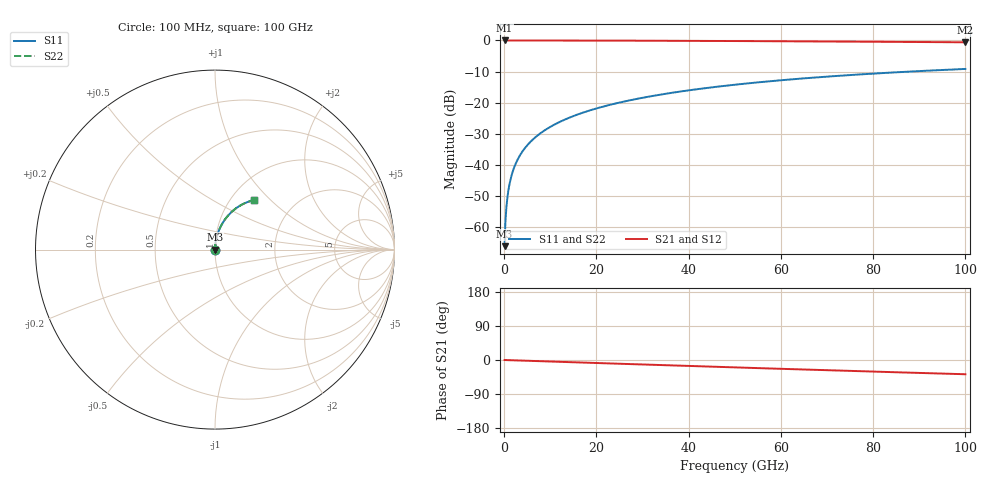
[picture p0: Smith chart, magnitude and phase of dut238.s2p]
! Touchstone file exported from HFSS 2026.1.0
!  File:  C:/ffzhzh/LocalFiles/Ansys_Project_Files/temp_train_TSV_238_1783508116_9504.aedt
!  Generated:  06:56:44 PM Jul  8, 2026
!  Design:  TSV
!  Project:  temp_train_TSV_238_1783508116_9504
! Variables:
!  h_bsmrdl = 2um
!  h_ox = 20um
!  h_rdl = 5um
!  h_sub = 54.7um
!  h_tmrdl = 5um
!  h_tsv = 54.7um
!  h_via = 3um
!  l_bsmrdl = 300um
!  l_sub = 411.02um
!  l_tmrdl = 200um
!  m_sub = 200um
!  pitch = 58.72um
!  r_tsv = 5.51um
!  s_tmrdl = 10um
!  w_bsmrdl = 18um
!  w_sub = 500um
!  w_tmrdl = 12um
!  x_tsv_center1 = 206um
!  x_tsv_center2 = 524um
!  x_tsv_center3 = 736um
!  x_tsv_center4 = 1054um
!  x_tsv_center5 = 1266um
!  x_tsv_center6 = 1584um
# GHz S MA R 50.000000
! Terminal data exported
! Port[1] = TSV1_1_T1
! Port[2] = TSV1_1_T2
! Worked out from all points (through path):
!   1000 points, 100 MHz to 100 GHz, reference 50 ohm
!   highest |S21| = 0.00 dB at 100 MHz (marker M1); lowest = -0.6 dB at 100 GHz (marker M2)
!   group delay of S21, straight-line fit = 1.05 ps
!   lowest |S11| = -66.0 dB at 100 MHz (marker M3), VSWR 1.00, Z = 50 + j0.044 ohm
!   |S11| at or under -10 dB: start of sweep to 87.72 GHz
!   |S22| runs from -66.0 to -9.1 dB; largest |S21 - S12| = 2.8e-15
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0.1  0.0005014 61.3  0.9998 -0.0  0.9998 -0.0  0.0005014 61.3
! Gamma 0 0 0 0
! Port Impedance 50 0 50 0
0.3  0.001319 78.5  0.9997 -0.1  0.9997 -0.1  0.001319 78.5
0.7  0.003003 84.3  0.9997 -0.3  0.9997 -0.3  0.003003 84.3
0.8  0.003425 84.8  0.9997 -0.3  0.9997 -0.3  0.003425 84.8
1  0.00427 85.5  0.9997 -0.4  0.9997 -0.4  0.00427 85.5
1.3  0.005535 86.0  0.9997 -0.5  0.9997 -0.5  0.005535 86.0
1.7  0.007215 86.4  0.9996 -0.7  0.9996 -0.7  0.007215 86.4
2.3  0.009718 86.5  0.9995 -0.9  0.9995 -0.9  0.009718 86.5
3  0.01261 86.4  0.9994 -1.2  0.9994 -1.2  0.01261 86.4
3.8  0.0159 86.3  0.9993 -1.5  0.9993 -1.5  0.0159 86.3
4.8  0.01999 86.1  0.9991 -1.9  0.9991 -1.9  0.01999 86.1
6  0.02487 85.8  0.9989 -2.4  0.9989 -2.4  0.02487 85.8
8.8  0.03623 85.0  0.9984 -3.5  0.9984 -3.5  0.03623 85.0
12.4  0.05077 83.8  0.9976 -4.9  0.9976 -4.9  0.05077 83.8
16.8  0.06841 82.2  0.9964 -6.7  0.9964 -6.7  0.06841 82.2
24.2  0.09773 79.5  0.9937 -9.6  0.9937 -9.6  0.09773 79.5
33.4  0.1334 76.1  0.9892 -13.2  0.9892 -13.2  0.1334 76.1
41.2  0.1628 73.1  0.9847 -16.2  0.9847 -16.2  0.1628 73.1
50.1  0.1953 69.8  0.9786 -19.6  0.9786 -19.6  0.1953 69.8
66.7  0.2522 63.7  0.9652 -25.7  0.9652 -25.7  0.2522 63.7
83.4  0.3038 57.7  0.95 -31.8  0.95 -31.8  0.3038 57.7
100  0.3491 52.0  0.9342 -37.6  0.9342 -37.6  0.3491 52.0
